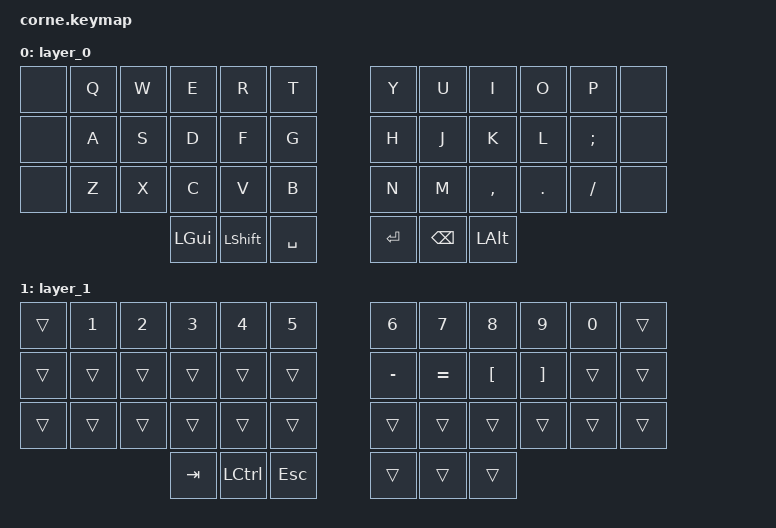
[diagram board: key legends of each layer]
/*
 * Copyright (c) 2020 The ZMK Contributors
 *
 * SPDX-License-Identifier: MIT
 */

#include <behaviors.dtsi>
#include <dt-bindings/zmk/keys.h>

#define QWERTY   0
#define SPCNAV   1
#define MEDNUM   2
#define GFUNCT   3
#define BTOOTH   4

/ {
    behaviors {
        hm: homerow_mods {
            compatible = "zmk,behavior-hold-tap";
            #binding-cells = <2>;
            tapping_term_ms = <150>;
            quick-tap-ms = <0>;
            flavor = "tap-preferred";
            bindings = <&kp>, <&kp>;
        };
    };
};

/ {
    keymap {
        compatible = "zmk,keymap";

        layer_0 {
            bindings = <
&none  &kp Q  &kp W  &kp E     &kp R      &kp T        &kp Y      &kp U     &kp I      &kp O    &kp P     &none
&none  &kp A  &kp S  &kp D     &kp F      &kp G        &kp H      &kp J     &kp K      &kp L    &kp SEMI  &none
&none  &kp Z  &kp X  &kp C     &kp V      &kp B        &kp N      &kp M     &kp COMMA  &kp DOT  &kp FSLH  &none
                     &kp LGUI  &kp LSHFT  &kp SPACE    &kp ENTER  &kp BSPC  &kp LALT
            >;
        };

        layer_1 {
            bindings = <
&trans  &kp N1  &kp N2  &kp N3   &kp N4     &kp N5     &kp N6     &kp N7     &kp N8    &kp N9    &kp N0  &trans
&trans  &trans  &trans  &trans   &trans     &trans     &kp MINUS  &kp EQUAL  &kp LBKT  &kp RBKT  &trans  &trans
&trans  &trans  &trans  &trans   &trans     &trans     &trans     &trans     &trans    &trans    &trans  &trans
                        &kp TAB  &kp LCTRL  &kp ESC    &trans     &trans     &trans
            >;
        };
    };
};
